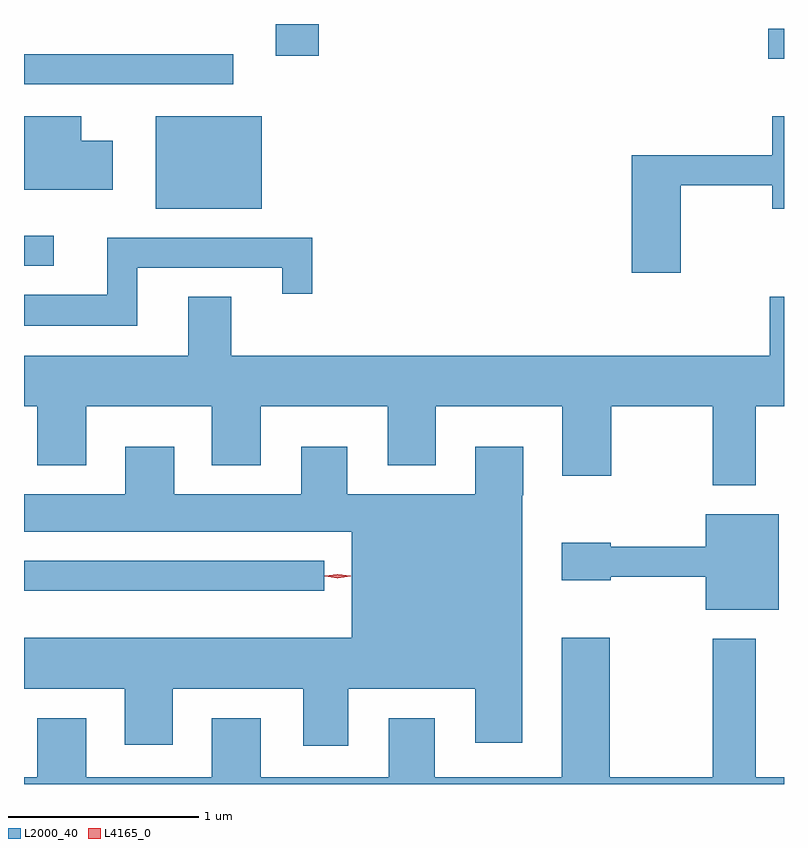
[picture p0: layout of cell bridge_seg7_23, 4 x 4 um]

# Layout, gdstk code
import gdstk
lib = gdstk.Library(unit=1e-6, precision=1e-09)
def R(c, l, rs):  # rectangles x0, y0, x1, y1
    for r in rs: c.add(gdstk.rectangle(r[:2], r[2:], *l))
def P(c, l, *ps):  # polygons
    for p in ps: c.add(gdstk.Polygon(p, *l))
L2000_40 = (2000, 40)
L4165_0 = (4165, 0)

bridge_seg7_23 = lib.new_cell('bridge_seg7_23')
R(bridge_seg7_23, L2000_40, [(1865.227,1782.166,1866.808,1782.324), (1865.227,1783.876,1865.383,1784.034), (1865.921,1784.176,1866.479,1784.664), (1865.227,1784.831,1866.328,1784.989), (1869.143,1784.966,1869.227,1785.124), (1866.551,1784.981,1866.779,1785.149)])
P(bridge_seg7_23, L2000_40, [(1865.694,1784.534),(1865.529,1784.534),(1865.529,1784.664),(1865.227,1784.664),(1865.227,1784.276),(1865.694,1784.276)],
  [(1868.684,1784.301),(1869.166,1784.301),(1869.166,1784.176),(1869.227,1784.176),(1869.227,1784.664),(1869.166,1784.664),(1869.166,1784.459),(1868.426,1784.459),(1868.426,1783.841),(1868.684,1783.841)],
  [(1865.824,1783.866),(1866.586,1783.866),(1866.586,1783.728),(1866.744,1783.728),(1866.744,1784.024),(1865.666,1784.024),(1865.666,1783.724),(1865.227,1783.724),(1865.227,1783.561),(1865.824,1783.561)],
  [(1869.079,1783.136),(1869.227,1783.136),(1869.227,1783.714),(1869.151,1783.714),(1869.151,1783.404),(1866.319,1783.404),(1866.319,1783.714),(1866.091,1783.714),(1866.091,1783.404),(1865.227,1783.404),(1865.227,1783.136),(1865.296,1783.136),(1865.296,1782.826),(1865.554,1782.826),(1865.554,1783.136),(1866.216,1783.136),(1866.216,1782.826),(1866.474,1782.826),(1866.474,1783.136),(1867.141,1783.136),(1867.141,1782.826),(1867.394,1782.826),(1867.394,1783.136),(1868.061,1783.136),(1868.061,1782.771),(1868.319,1782.771),(1868.319,1783.136),(1868.851,1783.136),(1868.851,1782.721),(1869.079,1782.721)],
  [(1866.934,1781.651),(1867.601,1781.651),(1867.601,1781.366),(1867.849,1781.366),(1867.849,1782.67),(1867.854,1782.67),(1867.854,1782.924),(1867.601,1782.924),(1867.601,1782.674),(1866.929,1782.674),(1866.929,1782.924),(1866.686,1782.924),(1866.686,1782.674),(1866.019,1782.674),(1866.019,1782.924),(1865.761,1782.924),(1865.761,1782.674),(1865.227,1782.674),(1865.227,1782.476),(1866.951,1782.476),(1866.951,1781.919),(1865.227,1781.919),(1865.227,1781.651),(1865.756,1781.651),(1865.756,1781.356),(1866.009,1781.356),(1866.009,1781.651),(1866.696,1781.651),(1866.696,1781.351),(1866.934,1781.351)],
  [(1869.199,1782.569),(1868.816,1782.569),(1868.816,1782.399),(1868.314,1782.399),(1868.314,1782.419),(1868.056,1782.419),(1868.056,1782.221),(1868.314,1782.221),(1868.314,1782.241),(1868.816,1782.241),(1868.816,1782.066),(1869.199,1782.066)],
  [(1869.227,1781.184),(1869.079,1781.184),(1869.079,1781.914),(1868.851,1781.914),(1868.851,1781.184),(1868.309,1781.184),(1868.309,1781.919),(1868.056,1781.919),(1868.056,1781.184),(1867.389,1781.184),(1867.389,1781.494),(1867.146,1781.494),(1867.146,1781.184),(1866.474,1781.184),(1866.474,1781.494),(1866.216,1781.494),(1866.216,1781.184),(1865.554,1781.184),(1865.554,1781.494),(1865.296,1781.494),(1865.296,1781.184),(1865.227,1781.184),(1865.227,1781.149),(1869.227,1781.149)])
P(bridge_seg7_23, L4165_0, [(1866.879,1782.233),(1866.81,1782.243),(1866.809,1782.243),(1866.81,1782.244),(1866.879,1782.253),(1866.947,1782.244),(1866.948,1782.243),(1866.947,1782.243)],
  [(1866.875,1782.232),(1866.813,1782.242),(1866.813,1782.242),(1866.813,1782.242),(1866.875,1782.252),(1866.937,1782.242),(1866.937,1782.242),(1866.937,1782.242)])

lib.write_gds('bridge_seg7_23.gds')
